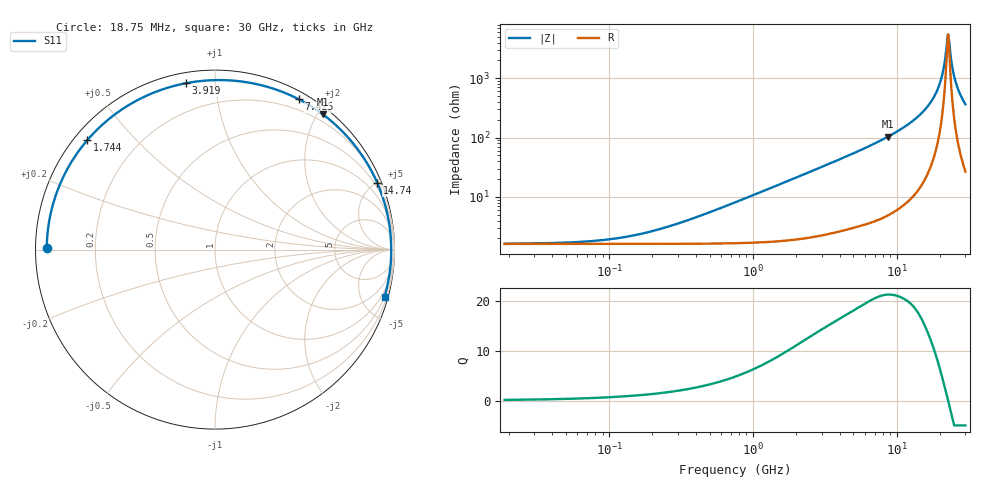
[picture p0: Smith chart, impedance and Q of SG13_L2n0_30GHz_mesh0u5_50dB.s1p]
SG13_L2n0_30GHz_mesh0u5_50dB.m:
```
%
% SG13 OpenEMS simulation - Volker testcase

close all
clear
clc
confirm_recursive_rmdir(0);   % delete old data without asking

basename = mfilename ; % get name of current model from *.m filename
physical_constants;    % load table of physical constants

%% setup the simulation %%%%%%%%%%%%%%%%%%%%%%%%%%%%%%%%%%%%%%%%%%%%%%%%%%%

unit = 1e-6; % specify everything in um

Boundaries   = {'PEC' 'PEC' 'PEC' 'PEC' 'PEC' 'PEC'};  % xmin xmax ymin ymax zmin zmax

refined_cellsize = 0.5;  % mesh resolution in area with polygons from GDSII

f_start = 0e9;
f_stop  = 30e9;

energy_limit = -50;    % end criteria for residual energy

max_cellsize = c0/(f_stop*sqrt(11.9))/unit /20;  % max cellsize 1/20 wavelength in silicon


%% setup FDTD parameters & excitation function %%%%%%%%%%%%%%%%%%%%%%%%%%%%
lim = exp(energy_limit/10 * log(10)); % cconvert energy limit from dB to number
FDTD = InitFDTD('endCriteria',lim);
FDTD = SetGaussExcite(FDTD,0.5*(f_start+f_stop),0.5*(f_stop-f_start));
FDTD = SetBoundaryCond( FDTD, Boundaries );

CSX = InitCSX();

%%%%%%%%%%%%%%%%%%%%%%%%%  SG13G2 stackup  %%%%%%%%%%%%%%%%%%%%%%%%%%%%%%%%

%% silicon substrate
CSX = AddMaterial( CSX, 'Sub' );
CSX = SetMaterialProperty( CSX, 'Sub', 'Epsilon', 11.9, 'Kappa', 2 );
Sub.thick = 280;
Sub.zmin = 0;
Sub.zmax = Sub.zmin + Sub.thick;

mesh.z = [linspace(Sub.zmin,Sub.zmax,20) ];


%% EPI
CSX = AddMaterial( CSX, 'EPI' );
CSX = SetMaterialProperty( CSX, 'EPI', 'Epsilon', 11.9, 'Kappa', 5 );
EPI.thick = 3.75;
EPI.zmin = Sub.zmax;
EPI.zmax = EPI.zmin + EPI.thick;

mesh.z = [mesh.z linspace(EPI.zmin,EPI.zmax,2)];


%% SiO2
CSX = AddMaterial( CSX, 'SiO2' );
CSX = SetMaterialProperty( CSX, 'SiO2', 'Epsilon', 4.1 );
SiO2.thick = 17.73;
SiO2.zmin = EPI.zmax;
SiO2.zmax = SiO2.zmin + SiO2.thick;

mesh.z = [mesh.z SiO2.zmin SiO2.zmax];


%% air above is background material, no need to place box, just add mesh line
Air.thick = 300;
Air.zmax = SiO2.zmax + Air.thick;
mesh.z = [mesh.z Air.zmax];


%% TopMetal2
TopMetal2.sigma = 30300000.0;
TopMetal2.thick = 3;
TopMetal2.zmin  = SiO2.zmin + 11.23;
TopMetal2.zmax  = TopMetal2.zmin + TopMetal2.thick;
CSX = AddMaterial( CSX, 'TopMetal2' );
CSX = SetMaterialProperty( CSX, 'TopMetal2', 'Kappa', TopMetal2.sigma );

mesh.z = [mesh.z linspace(TopMetal2.zmin,TopMetal2.zmax,3)];


%% TopMetal1
TopMetal1.sigma = 27800000.0;
TopMetal1.thick = 2;
TopMetal1.zmin  = SiO2.zmin + 6.43;
TopMetal1.zmax  = TopMetal1.zmin + TopMetal1.thick;
CSX = AddMaterial( CSX, 'TopMetal1' );
CSX = SetMaterialProperty( CSX, 'TopMetal1', 'Kappa', TopMetal1.sigma );

mesh.z = [mesh.z linspace(TopMetal1.zmin,TopMetal1.zmax,3)];

%% TopVia2
TopVia2.sigma = 3143000.0;
TopVia2.thick = 2.8;
TopVia2.zmin  = TopMetal1.zmax;
TopVia2.zmax  = TopVia2.zmin + TopVia2.thick;
CSX = AddMaterial( CSX, 'TopVia2' );
CSX = SetMaterialProperty( CSX, 'TopVia2', 'Kappa', TopVia2.sigma );



%%%%%%%%%%%%%%%%%%%%%%%%%%%%%%  conductors  %%%%%%%%%%%%%%%%%%%%%%%%%%%%%%%%%

% Cell ("L_2n0_simplify", 10 polygons, 0 paths, 2 labels, 0 references)

clear p;
p(1,1) = 22.200;
p(2,1) = 0.000;
p(1,2) = 34.200;
p(2,2) = 0.000;
p(1,3) = 34.200;
p(2,3) = 57.000;
p(1,4) = 22.200;
p(2,4) = 57.000;
CSX = AddLinPoly( CSX, 'TopMetal1', 200, 'z', TopMetal1.zmin, p, TopMetal1.thick);
clear p;
p(1,1) = -34.200;
p(2,1) = 0.000;
p(1,2) = -22.200;
p(2,2) = 0.000;
p(1,3) = -22.200;
p(2,3) = 57.000;
p(1,4) = -34.200;
p(2,4) = 57.000;
CSX = AddLinPoly( CSX, 'TopMetal1', 200, 'z', TopMetal1.zmin, p, TopMetal1.thick);
clear p;
p(1,1) = -23.230;
p(2,1) = 272.000;
p(1,2) = -9.985;
p(2,2) = 272.000;
p(1,3) = 5.015;
p(2,3) = 257.000;
p(1,4) = 23.230;
p(2,4) = 257.000;
p(1,5) = 23.230;
p(2,5) = 269.000;
p(1,6) = 9.985;
p(2,6) = 269.000;
p(1,7) = -5.015;
p(2,7) = 284.000;
p(1,8) = -23.230;
p(2,8) = 284.000;
CSX = AddLinPoly( CSX, 'TopMetal1', 200, 'z', TopMetal1.zmin, p, TopMetal1.thick);
clear p;
p(1,1) = 11.230;
p(2,1) = 257.000;
p(1,2) = 41.425;
p(2,2) = 257.000;
p(1,3) = 100.000;
p(2,3) = 198.425;
p(1,4) = 100.000;
p(2,4) = 115.575;
p(1,5) = 41.425;
p(2,5) = 57.000;
p(1,6) = 22.200;
p(2,6) = 57.000;
p(1,7) = 22.200;
p(2,7) = 45.000;
p(1,8) = 46.395;
p(2,8) = 45.000;
p(1,9) = 112.000;
p(2,9) = 110.605;
p(1,10) = 112.000;
p(2,10) = 203.395;
p(1,11) = 46.395;
p(2,11) = 269.000;
p(1,12) = 11.230;
p(2,12) = 269.000;
CSX = AddLinPoly( CSX, 'TopMetal2', 200, 'z', TopMetal2.zmin, p, TopMetal2.thick);
clear p;
p(1,1) = -100.000;
p(2,1) = 115.575;
p(1,2) = -100.000;
p(2,2) = 198.425;
p(1,3) = -41.425;
p(2,3) = 257.000;
p(1,4) = -5.015;
p(2,4) = 257.000;
p(1,5) = 9.985;
p(2,5) = 272.000;
p(1,6) = 47.635;
p(2,6) = 272.000;
p(1,7) = 115.000;
p(2,7) = 204.635;
p(1,8) = 115.000;
p(2,8) = 109.365;
p(1,9) = 47.635;
p(2,9) = 42.000;
p(1,10) = -47.635;
p(2,10) = 42.000;
p(1,11) = -115.000;
p(2,11) = 109.365;
p(1,12) = -115.000;
p(2,12) = 204.635;
p(1,13) = -47.635;
p(2,13) = 272.000;
p(1,14) = -11.230;
p(2,14) = 272.000;
p(1,15) = -11.230;
p(2,15) = 284.000;
p(1,16) = -52.605;
p(2,16) = 284.000;
p(1,17) = -127.000;
p(2,17) = 209.605;
p(1,18) = -127.000;
p(2,18) = 104.395;
p(1,19) = -52.605;
p(2,19) = 30.000;
p(1,20) = 52.605;
p(2,20) = 30.000;
p(1,21) = 127.000;
p(2,21) = 104.395;
p(1,22) = 127.000;
p(2,22) = 209.605;
p(1,23) = 52.605;
p(2,23) = 284.000;
p(1,24) = 5.015;
p(2,24) = 284.000;
p(1,25) = -9.985;
p(2,25) = 269.000;
p(1,26) = -46.395;
p(2,26) = 269.000;
p(1,27) = -112.000;
p(2,27) = 203.395;
p(1,28) = -112.000;
p(2,28) = 110.605;
p(1,29) = -46.395;
p(2,29) = 45.000;
p(1,30) = -22.200;
p(2,30) = 45.000;
p(1,31) = -22.200;
p(2,31) = 57.000;
p(1,32) = -41.425;
p(2,32) = 57.000;
CSX = AddLinPoly( CSX, 'TopMetal2', 200, 'z', TopMetal2.zmin, p, TopMetal2.thick);
clear p;
p(1,1) = -22.610;
p(2,1) = 272.620;
p(1,2) = -11.860;
p(2,2) = 272.620;
p(1,3) = -11.860;
p(2,3) = 283.370;
p(1,4) = -22.610;
p(2,4) = 283.370;
CSX = AddLinPoly( CSX, 'TopVia2', 200, 'z', TopVia2.zmin, p, TopVia2.thick);
clear p;
p(1,1) = 11.850;
p(2,1) = 257.620;
p(1,2) = 22.600;
p(2,2) = 257.620;
p(1,3) = 22.600;
p(2,3) = 268.370;
p(1,4) = 11.850;
p(2,4) = 268.370;
CSX = AddLinPoly( CSX, 'TopVia2', 200, 'z', TopVia2.zmin, p, TopVia2.thick);
clear p;
p(1,1) = -33.580;
p(2,1) = 45.620;
p(1,2) = -22.830;
p(2,2) = 45.620;
p(1,3) = -22.830;
p(2,3) = 56.370;
p(1,4) = -33.580;
p(2,4) = 56.370;
CSX = AddLinPoly( CSX, 'TopVia2', 200, 'z', TopVia2.zmin, p, TopVia2.thick);
clear p;
p(1,1) = 22.820;
p(2,1) = 45.620;
p(1,2) = 33.570;
p(2,2) = 45.620;
p(1,3) = 33.570;
p(2,3) = 56.370;
p(1,4) = 22.820;
p(2,4) = 56.370;
CSX = AddLinPoly( CSX, 'TopVia2', 200, 'z', TopVia2.zmin, p, TopVia2.thick);

% Bounding box of geometry
geometry.xmin= -127.000;
geometry.xmax= 127.000;
geometry.ymin= 0.000;
geometry.ymax= 284.000;


%%%%%%%%%%%%%%%%%%%%%%%%%%%%  end of conductors  %%%%%%%%%%%%%%%%%%%%%%%%%%%%%%%

%%%%%%%%%%%%%%%%%%%%%%%%%  ports created manually  %%%%%%%%%%%%%%%%%%%%%%%%%%%%%

[CSX, port] = AddLumpedPort( CSX, 500, 1, 50, [-22.2 0 TopMetal1.zmin], [22.2 10 TopMetal1.zmax], [1 0 0], true);

%%%%%%%%%%%%%%%%%%%%%%%%%%%%%%  end of ports  %%%%%%%%%%%%%%%%%%%%%%%%%%%%%%%%%%

geometry.width = geometry.xmax - geometry.xmin;
geometry.height = geometry.ymax - geometry.ymin;

% for inductors, add margin of one inductor diameter on each side, so that metal walls have no effect
box.xmin = geometry.xmin - 1.0 * geometry.width;
box.xmax = geometry.xmax + 1.0 * geometry.width;
box.ymin = geometry.ymin - 1.0 * geometry.height;
box.ymax = geometry.ymax + 1.0 * geometry.height;


%%%%%%%%%%%%%%%%%%%%% boxes for dielectrics and substrate %%%%%%%%%%%%%%%%%%%%%%%%%%

CSX = AddBox( CSX, 'Sub', 0, [box.xmin, box.ymin, Sub.zmin], [box.xmax, box.ymax, Sub.zmax] );
CSX = AddBox( CSX, 'EPI', 0, [box.xmin, box.ymin, EPI.zmin], [box.xmax, box.ymax, EPI.zmax] );
CSX = AddBox( CSX, 'SiO2', 0, [box.xmin, box.ymin, SiO2.zmin], [box.xmax, box.ymax, SiO2.zmax] );


%%%%%%%%%%%%%%%%%%%%%%%%%%%  build final mesh   %%%%%%%%%%%%%%%%%%%%%%%%%%%%%%%%%%%%

mesh.x = [box.xmin box.xmax];
mesh.y = [box.ymin box.ymax];

% refine mesh in conductor regions
mesh.x = [mesh.x linspace(geometry.xmin, geometry.xmax, geometry.width/refined_cellsize)];
mesh.y = [mesh.y linspace(geometry.ymin, geometry.ymax, geometry.height/refined_cellsize)];

mesh.x = SmoothMeshLines( mesh.x, max_cellsize, 1.3, 0);
mesh.y = SmoothMeshLines( mesh.y, max_cellsize, 1.3, 0);
mesh.z = SmoothMeshLines( mesh.z, max_cellsize, 1.3, 0);

CSX = DefineRectGrid( CSX, unit, mesh );


%% write/show/run the openEMS compatible xml-file
Sim_Path = ['data/' basename];
Sim_CSX = [basename '.xml'];

[status, message, messageid] = rmdir( Sim_Path, 's' ); % clear previous directory
[status, message, messageid] = mkdir( Sim_Path ); % create empty simulation folder

WriteOpenEMS( [Sim_Path '/' Sim_CSX], FDTD, CSX );

CSXGeomPlot( [Sim_Path '/' Sim_CSX] );  % open in viewer before start
RunOpenEMS( Sim_Path, Sim_CSX ,'');  % start solver

%% post-processing
close all
f = linspace( f_start, f_stop, 1601 );
port = calcPort(port, Sim_Path, f, 'RefImpedance', 50);

s11 = port.uf.ref./ port.uf.inc;
Zin = port.uf.tot ./ port.if.tot;

%% plot results

% S11
plot(f/1e9,20*log10(abs(s11)),'r-','LineWidth',2);
figure 1;
grid on;
ylabel('|S_11| (dB)','Interpreter','None');
xlabel('frequency (GHz)');

% Rseries
Rseries = real(Zin);
figure 2;
plot(f/1e9,Rseries,'r-','LineWidth',2);
ylim([0 10]);
grid on;
ylabel('Rseries');
xlabel('frequency (GHz)');

% Lseries
omega = 2*pi*f;
Lseries = imag(Zin)./omega;
figure 3;
plot(f/1e9,Lseries*1e9,'r-','LineWidth',2);
ylim([0 5]);
grid on;
ylabel('Lseries [nH]');
xlabel('frequency (GHz)');

% Q factor
Q = imag(Zin)./real(Zin);
figure 4;
plot(f/1e9,Q,'r-','LineWidth',2);
ylim([0 30]);
grid on;
ylabel('Q factor');
xlabel('frequency (GHz)');

save ([Sim_Path '/results']);

%% export Touchstone *.s1p
write_s1p('s',f,s11,[Sim_Path '/' basename '.s1p'],50);
```
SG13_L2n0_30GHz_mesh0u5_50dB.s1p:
#  Hz  S  RI  R  50
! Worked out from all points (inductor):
!   1600 points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, 18.75 MHz to 30 GHz, reference 50 ohm
!   read as one part to ground: L = 1.68 nH near 468.8 MHz
!   highest Q = 21.2 at 8.681 GHz (marker M1), where L = 1.9 nH
!   self-resonance near 22.75 GHz
!   S11 on the Smith chart (normalised r, x): 18.75 MHz: 0.03, +0.00; 1.744 GHz: 0.04, +0.37; 3.919 GHz: 0.05, +0.84; 7.425 GHz: 0.08, +1.70; 14.74 GHz: 0.30, +5.04; 30 GHz: 0.53, -7.28
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1.875e7  -0.9374 0.00742
8.25e8  -0.8821 0.3169
1.74375e9  -0.7125 0.6086
2.775e9  -0.4535 0.8209
3.91875e9  -0.1615 0.9272
5.625e9  0.1988 0.9286
7.425e9  0.4674 0.8373
8.68125e9  0.6002 0.7542
1.00125e10  0.7049 0.6632
1.21875e10  0.8216 0.5215
1.47375e10  0.9038 0.3718
2.000625e10  0.9747 0.1142
2.469375e10  0.9792 -0.0753
3e10  0.9446 -0.263
